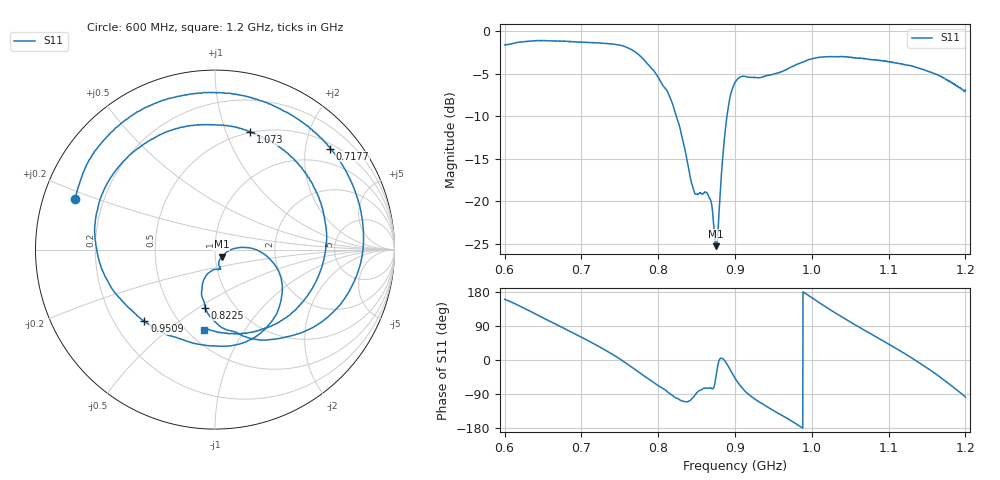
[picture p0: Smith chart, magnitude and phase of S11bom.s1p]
# HZ S RI R 50
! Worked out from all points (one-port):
!   2010 points, 600 MHz to 1.2 GHz, reference 50 ohm
!   lowest |S11| = -25.3 dB at 875.1 MHz (marker M1), VSWR 1.12, Z = 53.7 - j4.33 ohm
!   |S11| at or under -10 dB: 823.5 MHz to 889.5 MHz (66.05 MHz wide, 7.71 % of centre)
!   S11 on the Smith chart (normalised r, x): 600 MHz: 0.10, +0.17; 717.7 MHz: 0.61, +2.53; 822.5 MHz: 0.73, -0.53; 950.9 MHz: 0.33, -0.38; 1.073 GHz: 0.49, +1.22; 1.2 GHz: 0.60, -0.67
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6e8  -0.7817 0.281
6.436038e8  -0.4122 0.7782
6.752613e8  0.0658 0.8712
7.176705e8  0.6425 0.5625
7.50224e8  0.8283 0.0369
7.657541e8  0.7342 -0.2554
7.848681e8  0.4497 -0.4733
8.003982e8  0.1986 -0.4946
8.224987e8  -0.0544 -0.3229
8.251866e8  -0.0599 -0.2936
8.463912e8  -0.0135 -0.1149
8.672971e8  0.0288 -0.0998
8.750622e8  0.037 -0.0402
8.777501e8  0.0642 -0.0146
8.888004e8  0.296 -0.0432
9.001493e8  0.3326 -0.3747
9.144848e8  0.0466 -0.5384
9.509208e8  -0.3932 -0.3997
9.751119e8  -0.5937 -0.1826
1.007665e9  -0.6319 0.3038
1.029169e9  -0.4165 0.5726
1.050075e9  -0.1243 0.6915
1.073071e9  0.1969 0.6558
1.101443e9  0.5027 0.4286
1.125037e9  0.6169 0.1322
1.145943e9  0.5723 -0.1568
1.168342e9  0.3671 -0.3956
1.2e9  -0.0615 -0.4466
